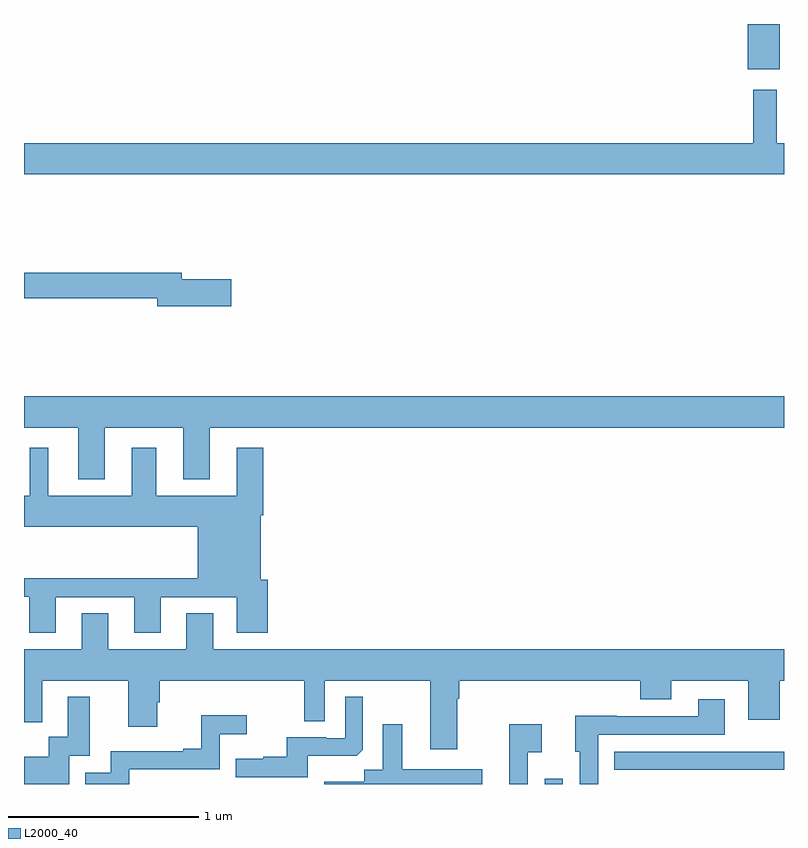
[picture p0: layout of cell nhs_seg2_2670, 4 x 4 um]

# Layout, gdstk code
import gdstk
lib = gdstk.Library(unit=1e-6, precision=1e-09)
def R(c, l, rs):  # rectangles x0, y0, x1, y1
    for r in rs: c.add(gdstk.rectangle(r[:2], r[2:], *l))
def P(c, l, *ps):  # polygons
    for p in ps: c.add(gdstk.Polygon(p, *l))
L2000_40 = (2000, 40)

nhs_seg2_2670 = lib.new_cell('nhs_seg2_2670')
R(nhs_seg2_2670, L2000_40, [(253.74,605.8,253.836,605.827), (254.81,609.563,254.977,609.8)])
P(nhs_seg2_2670, L2000_40, [(255,609.172),(254.962,609.172),(254.962,609.454),(254.837,609.454),(254.837,609.172),(251,609.172),(251,609.008),(255,609.008)],
  [(252.091,608.456),(251.83,608.456),(251.83,608.492),(251,608.492),(251,608.356),(251.702,608.356),(251.702,608.314),(252.091,608.314)],
  [(251.425,607.676),(251.837,607.676),(251.837,607.403),(251.977,607.403),(251.977,607.676),(255,607.676),(255,607.84),(251,607.84),(251,607.676),(251.285,607.676),(251.285,607.403),(251.425,607.403)],
  [(251.167,606.783),(251.579,606.783),(251.579,606.597),(251.719,606.597),(251.719,606.783),(252.119,606.783),(252.119,606.597),(252.284,606.597),(252.284,606.876),(252.247,606.876),(252.247,607.214),(252.26,607.214),(252.26,607.57),(252.119,607.57),(252.119,607.318),(251.695,607.318),(251.695,607.57),(251.567,607.57),(251.567,607.318),(251.128,607.318),(251.128,607.57),(251.03,607.57),(251.03,607.318),(251,607.318),(251,607.154),(251.915,607.154),(251.915,606.884),(251,606.884),(251,606.786),(251.027,606.786),(251.027,606.597),(251.167,606.597)],
  [(253.279,606.248),(253.292,606.248),(253.292,606.344),(254.243,606.344),(254.243,606.245),(254.407,606.245),(254.407,606.344),(254.813,606.344),(254.813,606.138),(254.977,606.138),(254.977,606.344),(255,606.344),(255,606.508),(251.995,606.508),(251.995,606.698),(251.855,606.698),(251.855,606.508),(251.443,606.508),(251.443,606.698),(251.303,606.698),(251.303,606.508),(251,606.508),(251,606.126),(251.095,606.126),(251.095,606.344),(251.549,606.344),(251.549,606.102),(251.701,606.102),(251.701,606.231),(251.714,606.231),(251.714,606.344),(252.474,606.344),(252.474,606.13),(252.582,606.13),(252.582,606.344),(253.139,606.344),(253.139,605.982),(253.279,605.982)],
  [(251.238,605.949),(251.347,605.949),(251.347,606.259),(251.231,606.259),(251.231,606.05),(251.13,606.05),(251.13,605.944),(251,605.944),(251,605.8),(251.238,605.8)],
  [(252.493,605.948),(252.751,605.948),(252.783,605.979),(252.783,606.259),(252.69,606.259),(252.69,606.042),(252.59,606.042),(252.59,606.045),(252.383,606.045),(252.383,605.944),(252.259,605.944),(252.259,605.932),(252.115,605.932),(252.115,605.835),(252.493,605.835)],
  [(254.022,606.06),(254.689,606.06),(254.689,606.247),(254.549,606.247),(254.549,606.156),(254.119,606.156),(254.119,606.158),(253.901,606.158),(253.901,605.97),(253.926,605.97),(253.926,605.8),(254.022,605.8)],
  [(251.553,605.877),(252.03,605.877),(252.03,606.062),(252.172,606.062),(252.172,606.161),(251.932,606.161),(251.932,605.986),(251.837,605.986),(251.837,605.973),(251.457,605.973),(251.457,605.859),(251.323,605.859),(251.323,605.8),(251.553,605.8)],
  [(253.65,605.966),(253.726,605.966),(253.726,606.115),(253.553,606.115),(253.553,605.8),(253.65,605.8)],
  [(253.411,605.878),(252.991,605.878),(252.991,606.115),(252.887,606.115),(252.887,605.876),(252.792,605.876),(252.792,605.812),(252.581,605.812),(252.581,605.8),(253.411,605.8)],
  [(255,605.971),(254.785,605.971),(254.785,605.97),(254.107,605.97),(254.107,605.874),(255,605.874)])

lib.write_gds('nhs_seg2_2670.gds')
